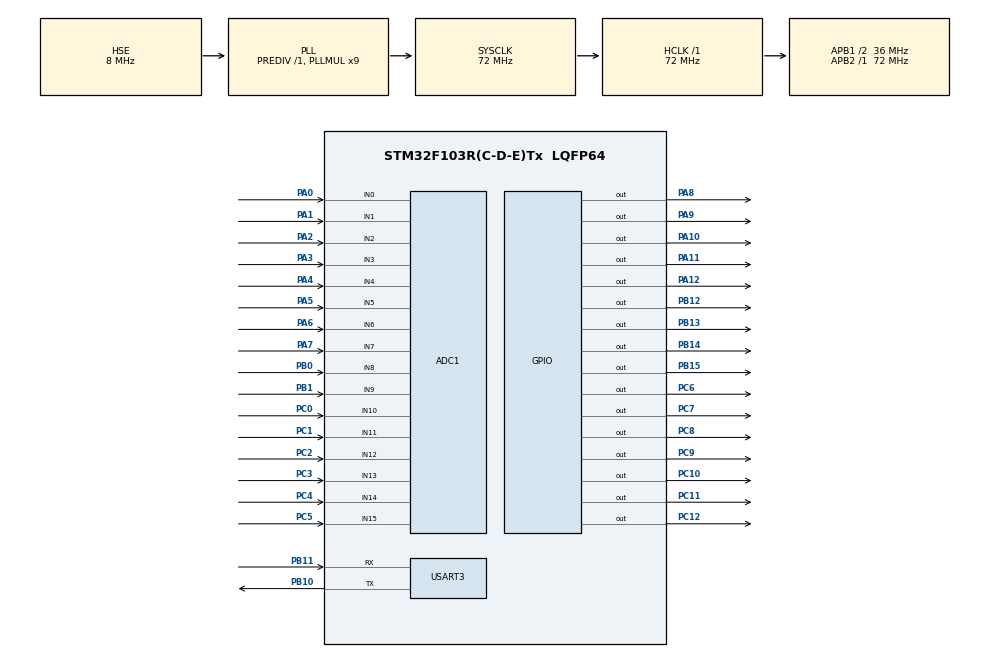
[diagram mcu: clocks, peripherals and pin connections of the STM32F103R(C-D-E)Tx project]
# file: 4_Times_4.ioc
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ADC1.Channel-0\#ChannelRegularConversion=ADC_CHANNEL_0
ADC1.NbrOfConversionFlag=1
ADC1.Rank-0\#ChannelRegularConversion=1
ADC1.SamplingTime-0\#ChannelRegularConversion=ADC_SAMPLETIME_1CYCLE_5
ADC1.master=1
Mcu.Family=STM32F1
Mcu.Name=STM32F103R(C-D-E)Tx
Mcu.Package=LQFP64
NVIC.PriorityGroup=NVIC_PRIORITYGROUP_4
PA0-WKUP.Signal=ADCx_IN0
PA1.Signal=ADCx_IN1
PA10.GPIO_ModeDefaultOutputPP=GPIO_MODE_OUTPUT_PP
PA10.GPIO_PuPd=GPIO_PULLUP
PA10.GPIO_Speed=GPIO_SPEED_FREQ_MEDIUM
PA10.PinState=GPIO_PIN_SET
PA10.Signal=GPIO_Output
PA11.GPIO_ModeDefaultOutputPP=GPIO_MODE_OUTPUT_PP
PA11.GPIO_PuPd=GPIO_PULLUP
PA11.GPIO_Speed=GPIO_SPEED_FREQ_MEDIUM
PA11.PinState=GPIO_PIN_SET
PA11.Signal=GPIO_Output
PA12.GPIO_ModeDefaultOutputPP=GPIO_MODE_OUTPUT_PP
PA12.GPIO_PuPd=GPIO_PULLUP
PA12.GPIO_Speed=GPIO_SPEED_FREQ_MEDIUM
PA12.PinState=GPIO_PIN_SET
PA12.Signal=GPIO_Output
PA13.Mode=Serial_Wire
PA13.Signal=SYS_JTMS-SWDIO
PA14.Mode=Serial_Wire
PA14.Signal=SYS_JTCK-SWCLK
PA2.Signal=ADCx_IN2
PA3.Signal=ADCx_IN3
PA4.Signal=ADCx_IN4
PA5.Signal=ADCx_IN5
PA6.Signal=ADCx_IN6
PA7.Signal=ADCx_IN7
PA8.GPIO_ModeDefaultOutputPP=GPIO_MODE_OUTPUT_PP
PA8.GPIO_PuPd=GPIO_PULLUP
PA8.GPIO_Speed=GPIO_SPEED_FREQ_MEDIUM
PA8.PinState=GPIO_PIN_SET
PA8.Signal=GPIO_Output
PA9.GPIO_ModeDefaultOutputPP=GPIO_MODE_OUTPUT_PP
PA9.GPIO_PuPd=GPIO_PULLUP
PA9.GPIO_Speed=GPIO_SPEED_FREQ_MEDIUM
PA9.PinState=GPIO_PIN_SET
PA9.Signal=GPIO_Output
PB0.Signal=ADCx_IN8
PB1.Signal=ADCx_IN9
PB10.Mode=Asynchronous
PB10.Signal=USART3_TX
PB11.Mode=Asynchronous
PB11.Signal=USART3_RX
PB12.GPIO_ModeDefaultOutputPP=GPIO_MODE_OUTPUT_PP
PB12.GPIO_PuPd=GPIO_PULLUP
PB12.GPIO_Speed=GPIO_SPEED_FREQ_MEDIUM
PB12.PinState=GPIO_PIN_SET
PB12.Signal=GPIO_Output
PB13.GPIO_ModeDefaultOutputPP=GPIO_MODE_OUTPUT_PP
PB13.GPIO_PuPd=GPIO_PULLUP
PB13.GPIO_Speed=GPIO_SPEED_FREQ_MEDIUM
PB13.PinState=GPIO_PIN_SET
PB13.Signal=GPIO_Output
PB14.GPIO_ModeDefaultOutputPP=GPIO_MODE_OUTPUT_PP
PB14.GPIO_PuPd=GPIO_PULLUP
PB14.GPIO_Speed=GPIO_SPEED_FREQ_MEDIUM
PB14.PinState=GPIO_PIN_SET
PB14.Signal=GPIO_Output
PB15.GPIO_ModeDefaultOutputPP=GPIO_MODE_OUTPUT_PP
PB15.GPIO_PuPd=GPIO_PULLUP
PB15.GPIO_Speed=GPIO_SPEED_FREQ_MEDIUM
PB15.PinState=GPIO_PIN_SET
PB15.Signal=GPIO_Output
PC0.Signal=ADCx_IN10
PC1.Signal=ADCx_IN11
PC10.GPIO_ModeDefaultOutputPP=GPIO_MODE_OUTPUT_PP
PC10.GPIO_PuPd=GPIO_PULLUP
PC10.GPIO_Speed=GPIO_SPEED_FREQ_MEDIUM
PC10.PinState=GPIO_PIN_SET
PC10.Signal=GPIO_Output
PC11.GPIO_ModeDefaultOutputPP=GPIO_MODE_OUTPUT_PP
PC11.GPIO_PuPd=GPIO_PULLUP
PC11.GPIO_Speed=GPIO_SPEED_FREQ_MEDIUM
PC11.PinState=GPIO_PIN_SET
PC11.Signal=GPIO_Output
PC12.GPIO_ModeDefaultOutputPP=GPIO_MODE_OUTPUT_PP
PC12.GPIO_PuPd=GPIO_PULLUP
PC12.GPIO_Speed=GPIO_SPEED_FREQ_MEDIUM
PC12.PinState=GPIO_PIN_SET
PC12.Signal=GPIO_Output
PC2.Signal=ADCx_IN12
PC3.Signal=ADCx_IN13
PC4.Signal=ADCx_IN14
PC5.Signal=ADCx_IN15
PC6.GPIO_ModeDefaultOutputPP=GPIO_MODE_OUTPUT_PP
PC6.GPIO_PuPd=GPIO_PULLUP
PC6.GPIO_Speed=GPIO_SPEED_FREQ_MEDIUM
PC6.PinState=GPIO_PIN_SET
PC6.Signal=GPIO_Output
PC7.GPIO_ModeDefaultOutputPP=GPIO_MODE_OUTPUT_PP
PC7.GPIO_PuPd=GPIO_PULLUP
PC7.GPIO_Speed=GPIO_SPEED_FREQ_MEDIUM
PC7.PinState=GPIO_PIN_SET
PC7.Signal=GPIO_Output
PC8.GPIO_ModeDefaultOutputPP=GPIO_MODE_OUTPUT_PP
PC8.GPIO_PuPd=GPIO_PULLUP
PC8.GPIO_Speed=GPIO_SPEED_FREQ_MEDIUM
PC8.PinState=GPIO_PIN_SET
PC8.Signal=GPIO_Output
PC9.GPIO_ModeDefaultOutputPP=GPIO_MODE_OUTPUT_PP
PC9.GPIO_PuPd=GPIO_PULLUP
PC9.GPIO_Speed=GPIO_SPEED_FREQ_MEDIUM
PC9.PinState=GPIO_PIN_SET
PC9.Signal=GPIO_Output
PD0-OSC_IN.Mode=HSE-External-Oscillator
PD0-OSC_IN.Signal=RCC_OSC_IN
PD1-OSC_OUT.Mode=HSE-External-Oscillator
PD1-OSC_OUT.Signal=RCC_OSC_OUT
ProjectManager.HeapSize=0x200
ProjectManager.StackSize=0x400
ProjectManager.TargetToolchain=MDK-ARM V5.32
RCC.ADCPresc=RCC_ADCPCLK2_DIV6
RCC.AHBFreq_Value=72000000
RCC.APB1CLKDivider=RCC_HCLK_DIV2
RCC.APB1Freq_Value=36000000
RCC.APB1TimFreq_Value=72000000
RCC.APB2Freq_Value=72000000
RCC.APB2TimFreq_Value=72000000
RCC.HCLKFreq_Value=72000000
RCC.PLLMUL=RCC_PLL_MUL9
RCC.PLLSourceVirtual=RCC_PLLSOURCE_HSE
RCC.SYSCLKFreq_VALUE=72000000
RCC.SYSCLKSource=RCC_SYSCLKSOURCE_PLLCLK
RCC.USBFreq_Value=72000000
SH.ADCx_IN0.0=ADC1_IN0,IN0
SH.ADCx_IN1.0=ADC1_IN1,IN1
SH.ADCx_IN10.0=ADC1_IN10,IN10
SH.ADCx_IN11.0=ADC1_IN11,IN11
SH.ADCx_IN12.0=ADC1_IN12,IN12
SH.ADCx_IN13.0=ADC1_IN13,IN13
SH.ADCx_IN14.0=ADC1_IN14,IN14
SH.ADCx_IN15.0=ADC1_IN15,IN15
SH.ADCx_IN2.0=ADC1_IN2,IN2
SH.ADCx_IN3.0=ADC1_IN3,IN3
SH.ADCx_IN4.0=ADC1_IN4,IN4
SH.ADCx_IN5.0=ADC1_IN5,IN5
SH.ADCx_IN6.0=ADC1_IN6,IN6
SH.ADCx_IN7.0=ADC1_IN7,IN7
SH.ADCx_IN8.0=ADC1_IN8,IN8
SH.ADCx_IN9.0=ADC1_IN9,IN9
USART3.VirtualMode=VM_ASYNC
board=custom

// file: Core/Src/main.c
/* USER CODE BEGIN Header */
/**
  ******************************************************************************
  * @file           : main.c
  * @brief          : Main program body
  ******************************************************************************
  * @attention
  *
  * Copyright (c) 2025 STMicroelectronics.
  * All rights reserved.
  *
  * This software is licensed under terms that can be found in the LICENSE file
  * in the root directory of this software component.
  * If no LICENSE file comes with this software, it is provided AS-IS.
  *
  ******************************************************************************
  */
/* USER CODE END Header */
#include "main.h"
#include "adc.h"
#include "usart.h"
#include "gpio.h"

/* USER CODE BEGIN PD */
#define ADC_CHANNEL_COUNT 12
#define SAMPLE_BUFFER_SIZE 10
/* USER CODE END PD */

/* USER CODE BEGIN PV */
uint16_t ADC_Value1 = 0;
uint16_t ADC_Value2 = 0;
uint16_t ADC_Value3 = 0;
uint16_t ADC_Value4 = 0;
uint16_t ADC_Value5 = 0;
uint16_t ADC_Value6 = 0;
uint16_t ADC_Value7 = 0;
uint16_t ADC_Value8 = 0;
uint16_t ADC_Value9 = 0;
uint16_t ADC_Value10 = 0;
uint16_t ADC_Value11 = 0;
uint16_t ADC_Value12 = 0;
uint8_t uart_buffer[26]; // 用于存储发送的数据
// 新增的数组和计数器
uint16_t adc_values[ADC_CHANNEL_COUNT][SAMPLE_BUFFER_SIZE];
uint8_t sample_count[ADC_CHANNEL_COUNT] = {0};
uint8_t buffer_full_flag = 0; // 缓冲区满标志
/* USER CODE END PV */

void SystemClock_Config(void);
/* USER CODE BEGIN PFP */
uint16_t get_max_value(uint16_t *array, uint8_t size);
void Process_ADC_Data(void);
/* USER CODE END PFP */

/* USER CODE BEGIN 0 */
void Send_UART_Data(void)
{
    uart_buffer[0] = 0x0A; // 起始帧头
    uart_buffer[1] = (uint8_t)((ADC_Value1 >> 8) & 0xFF); // 高字节
    uart_buffer[2] = (uint8_t)(ADC_Value1 & 0xFF);       // 低字节
    uart_buffer[3] = (uint8_t)((ADC_Value2 >> 8) & 0xFF);
    uart_buffer[4] = (uint8_t)(ADC_Value2 & 0xFF);
    uart_buffer[5] = (uint8_t)((ADC_Value3 >> 8) & 0xFF);
    uart_buffer[6] = (uint8_t)(ADC_Value3 & 0xFF);
    uart_buffer[7] = (uint8_t)((ADC_Value4 >> 8) & 0xFF);
    uart_buffer[8] = (uint8_t)(ADC_Value4 & 0xFF);
    uart_buffer[9] = (uint8_t)((ADC_Value5 >> 8) & 0xFF);
    uart_buffer[10] = (uint8_t)(ADC_Value5 & 0xFF);
    uart_buffer[11] = (uint8_t)((ADC_Value6 >> 8) & 0xFF);
    uart_buffer[12] = (uint8_t)(ADC_Value6 & 0xFF);
    uart_buffer[13] = (uint8_t)((ADC_Value7 >> 8) & 0xFF);
    uart_buffer[14] = (uint8_t)(ADC_Value7 & 0xFF);
    uart_buffer[15] = (uint8_t)((ADC_Value8 >> 8) & 0xFF);
    uart_buffer[16] = (uint8_t)(ADC_Value8 & 0xFF);
    uart_buffer[17] = (uint8_t)((ADC_Value9 >> 8) & 0xFF);
    uart_buffer[18] = (uint8_t)(ADC_Value9 & 0xFF);
    uart_buffer[19] = (uint8_t)((ADC_Value10 >> 8) & 0xFF);
    uart_buffer[20] = (uint8_t)(ADC_Value10 & 0xFF);
    uart_buffer[21] = (uint8_t)((ADC_Value11 >> 8) & 0xFF);
    uart_buffer[22] = (uint8_t)(ADC_Value11 & 0xFF);
    uart_buffer[23] = (uint8_t)((ADC_Value12 >> 8) & 0xFF);
    uart_buffer[24] = (uint8_t)(ADC_Value12 & 0xFF);
    uart_buffer[25] = 0x0B; // 最终帧尾

    HAL_UART_Transmit(&huart3, uart_buffer, 26, HAL_MAX_DELAY); // 发送数据
		HAL_Delay(500);
}

uint16_t get_max_value(uint16_t *array, uint8_t size)
{
    uint16_t max_val = 0;
    for(uint8_t i = 0; i < size; i++)
    {
        if(array[i] > max_val)
        {
            max_val = array[i];
        }
    }
    return max_val;
}

void Process_ADC_Data(void)
{
    // 读取所有ADC通道
    uint16_t current_values[ADC_CHANNEL_COUNT] = {
        ADC_Read(ADC_CHANNEL_0),
        ADC_Read(ADC_CHANNEL_1),
        ADC_Read(ADC_CHANNEL_2),
        ADC_Read(ADC_CHANNEL_3),
        ADC_Read(ADC_CHANNEL_4),
        ADC_Read(ADC_CHANNEL_5),
        ADC_Read(ADC_CHANNEL_6),
        ADC_Read(ADC_CHANNEL_7),
        ADC_Read(ADC_CHANNEL_8),
        ADC_Read(ADC_CHANNEL_9),
        ADC_Read(ADC_CHANNEL_10),
        ADC_Read(ADC_CHANNEL_11)
    };

    // 将每个通道的值存入对应的数组
    for(uint8_t ch = 0; ch < ADC_CHANNEL_COUNT; ch++)
    {
        adc_values[ch][sample_count[ch]] = current_values[ch];
        sample_count[ch]++;

        // 如果数组已满，计算最大值并重置计数器
        if(sample_count[ch] >= SAMPLE_BUFFER_SIZE)
        {
            // 设置缓冲区满标志
            buffer_full_flag = 1;

            // 计算最大值并赋给对应的ADC_Value变量
            switch(ch)
            {
                case 0: ADC_Value1 = get_max_value(adc_values[0], SAMPLE_BUFFER_SIZE); break;
                case 1: ADC_Value2 = get_max_value(adc_values[1], SAMPLE_BUFFER_SIZE); break;
                case 2: ADC_Value3 = get_max_value(adc_values[2], SAMPLE_BUFFER_SIZE); break;
                case 3: ADC_Value4 = get_max_value(adc_values[3], SAMPLE_BUFFER_SIZE); break;
                case 4: ADC_Value5 = get_max_value(adc_values[4], SAMPLE_BUFFER_SIZE); break;
                case 5: ADC_Value6 = get_max_value(adc_values[5], SAMPLE_BUFFER_SIZE); break;
                case 6: ADC_Value7 = get_max_value(adc_values[6], SAMPLE_BUFFER_SIZE); break;
                case 7: ADC_Value8 = get_max_value(adc_values[7], SAMPLE_BUFFER_SIZE); break;
                case 8: ADC_Value9 = get_max_value(adc_values[8], SAMPLE_BUFFER_SIZE); break;
                case 9: ADC_Value10 = get_max_value(adc_values[9], SAMPLE_BUFFER_SIZE); break;
                case 10: ADC_Value11 = get_max_value(adc_values[10], SAMPLE_BUFFER_SIZE); break;
                case 11: ADC_Value12 = get_max_value(adc_values[11], SAMPLE_BUFFER_SIZE); break;
            }

            sample_count[ch] = 0; // 重置计数器重新开始采集
        }
    }
}
/* USER CODE END 0 */

int main(void)
{

  /* MCU Configuration--------------------------------------------------------*/

  /* Reset of all peripherals, Initializes the Flash interface and the Systick. */
  HAL_Init();

  /* Configure the system clock */
  SystemClock_Config();

  /* Initialize all configured peripherals */
  MX_GPIO_Init();
  MX_ADC1_Init();
  MX_USART3_UART_Init();
  /* USER CODE BEGIN 2 */
	HAL_ADCEx_Calibration_Start(&hadc1);
	HAL_ADC_Start(&hadc1);
  /* USER CODE END 2 */

  /* Infinite loop */
  /* USER CODE BEGIN WHILE */
  while (1)
  {
		HAL_ADC_Start(&hadc1);//启动一次转换

		// 处理ADC数据（采集并检查是否需要计算最大值）
		Process_ADC_Data();

		HAL_ADC_Stop(&hadc1);

		// 只有当所有通道都采集了10个数据后才发送
		if(buffer_full_flag)
		{
			Send_UART_Data(); // 发送数据
			buffer_full_flag = 0; // 清除标志
		}

		HAL_Delay(10);
    /* USER CODE END WHILE */

  }
}

void SystemClock_Config(void)
{
  RCC_OscInitTypeDef RCC_OscInitStruct = {0};
  RCC_ClkInitTypeDef RCC_ClkInitStruct = {0};
  RCC_PeriphCLKInitTypeDef PeriphClkInit = {0};

  /** Initializes the RCC Oscillators according to the specified parameters
  * in the RCC_OscInitTypeDef structure.
  */
  RCC_OscInitStruct.OscillatorType = RCC_OSCILLATORTYPE_HSE;
  RCC_OscInitStruct.HSEState = RCC_HSE_ON;
  RCC_OscInitStruct.HSEPredivValue = RCC_HSE_PREDIV_DIV1;
  RCC_OscInitStruct.HSIState = RCC_HSI_ON;
  RCC_OscInitStruct.PLL.PLLState = RCC_PLL_ON;
  RCC_OscInitStruct.PLL.PLLSource = RCC_PLLSOURCE_HSE;
  RCC_OscInitStruct.PLL.PLLMUL = RCC_PLL_MUL9;
  if (HAL_RCC_OscConfig(&RCC_OscInitStruct) != HAL_OK)
  {
    Error_Handler();
  }

  /** Initializes the CPU, AHB and APB buses clocks
  */
  RCC_ClkInitStruct.ClockType = RCC_CLOCKTYPE_HCLK|RCC_CLOCKTYPE_SYSCLK
                              |RCC_CLOCKTYPE_PCLK1|RCC_CLOCKTYPE_PCLK2;
  RCC_ClkInitStruct.SYSCLKSource = RCC_SYSCLKSOURCE_PLLCLK;
  RCC_ClkInitStruct.AHBCLKDivider = RCC_SYSCLK_DIV1;
  RCC_ClkInitStruct.APB1CLKDivider = RCC_HCLK_DIV2;
  RCC_ClkInitStruct.APB2CLKDivider = RCC_HCLK_DIV1;

  if (HAL_RCC_ClockConfig(&RCC_ClkInitStruct, FLASH_LATENCY_2) != HAL_OK)
  {
    Error_Handler();
  }
  PeriphClkInit.PeriphClockSelection = RCC_PERIPHCLK_ADC;
  PeriphClkInit.AdcClockSelection = RCC_ADCPCLK2_DIV6;
  if (HAL_RCCEx_PeriphCLKConfig(&PeriphClkInit) != HAL_OK)
  {
    Error_Handler();
  }
}

void Error_Handler(void)
{
  __disable_irq();
  while (1)
  {
  }
}
